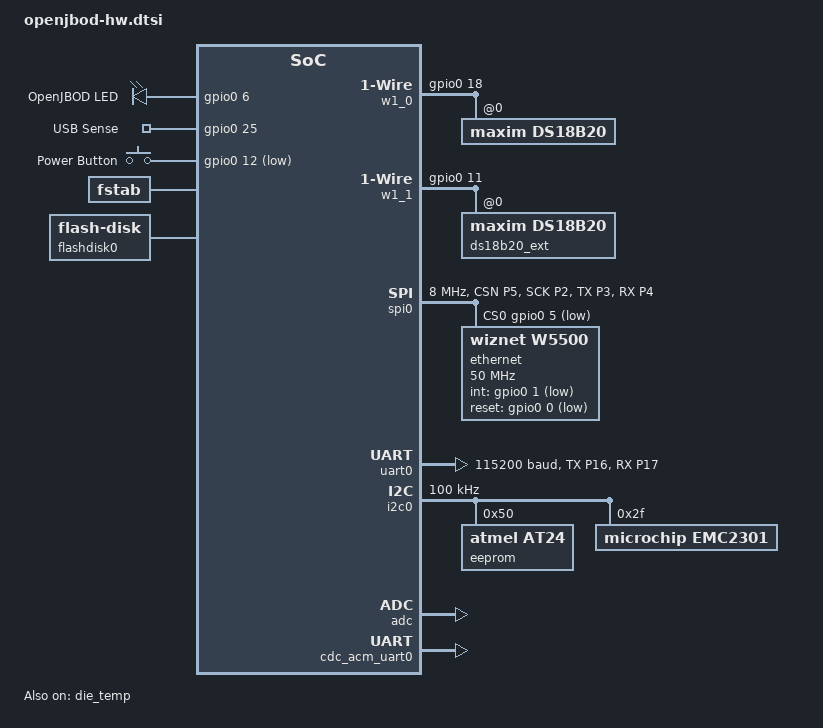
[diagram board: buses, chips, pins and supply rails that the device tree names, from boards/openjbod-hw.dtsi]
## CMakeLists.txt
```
# SPDX-License-Identifier: Apache-2.0

cmake_minimum_required(VERSION 3.20.0)

find_package(Zephyr REQUIRED HINTS $ENV{ZEPHYR_BASE})
find_package(Python REQUIRED COMPONENTS Interpreter)

project(http_server)
set(CMAKE_EXPORT_COMPILE_COMMANDS ON CACHE BOOL "Generate compile_commands.json" FORCE)

# Get git commit SHA for build info
find_program(GIT_EXECUTABLE git)

if(GIT_EXECUTABLE)
  execute_process(
    COMMAND ${GIT_EXECUTABLE} rev-parse --short HEAD
    WORKING_DIRECTORY ${CMAKE_SOURCE_DIR}
    OUTPUT_VARIABLE GIT_COMMIT_SHA
    OUTPUT_STRIP_TRAILING_WHITESPACE
    ERROR_QUIET
  )
endif()

# Fallback if git is not available or not in a git repo
if(NOT GIT_COMMIT_SHA)
  set(GIT_COMMIT_SHA "unknown" CACHE STRING "Git commit SHA for build info" FORCE)
endif()

# Add git commit SHA as a compile definition
target_compile_definitions(app PRIVATE OPENJBOD_GIT_COMMIT="${GIT_COMMIT_SHA}")

message(STATUS "OpenJBOD Git commit SHA: ${GIT_COMMIT_SHA}")


option(INCLUDE_HTML_CONTENT "Include the HTML content" ON)

target_sources(app PRIVATE
  src/main.c
  src/eeprom_mac.c
  src/sr_latch.c
  src/status_led.c
  src/temperature.c
  src/emc2301.c
  src/fan_control.c
  src/fan_calibrate.c
  src/settings.c
  src/device_info.c
  src/http/auth.c
  src/http/session.c
  src/http/api_token.c
  src/http/headers.c
  src/http/server_control.c
  src/http/static_assets.c
  src/http/router.c
  src/http/routes/routes_core.c
  src/http/routes/routes_power.c
  src/http/routes/routes_environment.c
  src/http/routes/routes_settings.c
  src/http/routes/routes_users.c
  src/http/routes/routes_certificates.c
  src/http/routes/routes_reset.c
  src/http/routes/routes_auth.c
  src/http/routes/routes_tokens.c
)

# Network firmware upgrade (DFU) - only when built under MCUboot (sysbuild).
target_sources_ifdef(CONFIG_BOOTLOADER_MCUBOOT app PRIVATE src/firmware_update.c)

# Development/debug UART shell commands (only useful when the shell is enabled).
target_sources_ifdef(CONFIG_SHELL app PRIVATE src/shell_cmds.c)

# USB CDC-ACM console: our bring-up code plus the canonical USBD init helper from
# the Zephyr tree (its header explicitly invites reuse as a template).
target_sources_ifdef(CONFIG_OPENJBOD_USB_CONSOLE app PRIVATE
  src/usb_console.c
  ${ZEPHYR_BASE}/samples/subsys/usb/common/sample_usbd_init.c
)
if(CONFIG_OPENJBOD_USB_CONSOLE)
  target_include_directories(app PRIVATE ${ZEPHYR_BASE}/samples/subsys/usb/common)
endif()

target_include_directories(app PRIVATE ${CMAKE_CURRENT_SOURCE_DIR}/src)

set(gen_dir ${ZEPHYR_BINARY_DIR}/include/generated/)

target_link_libraries(app PRIVATE zephyr_interface zephyr)

zephyr_linker_sources(SECTIONS sections-rom.ld)
zephyr_linker_section_ifdef(CONFIG_NET_SAMPLE_HTTPS_SERVICE NAME
				http_resource_desc_test_https_service
				KVMA RAM_REGION GROUP RODATA_REGION)
zephyr_linker_section_ifdef(CONFIG_NET_SAMPLE_HTTP_SERVICE NAME
				http_resource_desc_test_http_service
				KVMA RAM_REGION GROUP RODATA_REGION)

set(WEBSRC ${CMAKE_CURRENT_SOURCE_DIR}/src/static_web_resources)
set(WEB_INLINE_DIR ${CMAKE_BINARY_DIR}/web_inlined)

# Every page now inlines its CSS/JS at build time (below), so the standalone asset
# routes were removed - no separate <name>.js.gz.inc / style.css.gz.inc is embedded.
# The source files are still read directly by the inliner.

# HTML pages: inline /style.css, the page's own JS, and common.js so each page is a
# SINGLE HTTPS request (one TLS handshake) instead of 3-4. Over HTTPS the handshake
# is the whole cost and handshakes serialise on the one crypto core, so collapsing a
# page to one request is the biggest load-time win. The inlined page is then gzipped
# into the same <page>.html.gz.inc that static_assets.c already embeds.
file(GLOB WEB_ASSET_DEPS ${WEBSRC}/*.js ${WEBSRC}/*.css)
foreach(page
  index
  about
  network
  power
  http
  environment
  console
  users
  tokens
  firmware
  reset
  login
    )
  add_custom_command(
    OUTPUT ${WEB_INLINE_DIR}/${page}.html
    COMMAND ${CMAKE_COMMAND} -E make_directory ${WEB_INLINE_DIR}
    COMMAND ${Python_EXECUTABLE} ${CMAKE_CURRENT_SOURCE_DIR}/scripts/inline_web_assets.py
            ${WEBSRC}/${page}.html ${WEBSRC} ${WEB_INLINE_DIR}/${page}.html
    DEPENDS ${WEBSRC}/${page}.html ${WEB_ASSET_DEPS}
            ${CMAKE_CURRENT_SOURCE_DIR}/scripts/inline_web_assets.py
    COMMENT "Inlining web assets into ${page}.html"
    VERBATIM
  )
  generate_inc_file_for_target(
    app
    ${WEB_INLINE_DIR}/${page}.html
    ${gen_dir}/${page}.html.gz.inc
    --gzip
  )
endforeach()

set(cert_source_dir ${CMAKE_CURRENT_SOURCE_DIR}/src/certs)
set(cert_build_dir ${CMAKE_BINARY_DIR}/certs)
set(cert_outputs
  ${cert_build_dir}/server_cert.der
  ${cert_build_dir}/server_privkey.der
)

add_custom_target(embedded_certs_force ALL
  COMMAND ${CMAKE_COMMAND} -E make_directory ${cert_build_dir}
  COMMAND ${CMAKE_COMMAND} -E rm -f ${cert_build_dir}/server_cert.der
  COMMAND ${CMAKE_COMMAND} -E rm -f ${cert_build_dir}/server_privkey.der
  COMMAND ${CMAKE_COMMAND} -E rm -f ${cert_build_dir}/server_cert.pem
  COMMAND ${CMAKE_COMMAND} -E rm -f ${cert_build_dir}/server_privkey.pem
  COMMAND ${CMAKE_COMMAND} -E rm -f ${cert_build_dir}/server_cert.ext
  COMMENT "Forcing TLS certificate regeneration"
  VERBATIM
)

add_custom_command(
  OUTPUT ${cert_outputs}
  COMMAND ${CMAKE_COMMAND} -E make_directory ${cert_build_dir}
  COMMAND ${cert_source_dir}/gen_cert.sh
  WORKING_DIRECTORY ${cert_build_dir}
  DEPENDS ${cert_source_dir}/gen_cert.sh embedded_certs_force
  COMMENT "Generating embedded TLS certificates"
  VERBATIM
)

add_custom_target(embedded_certs ALL DEPENDS ${cert_outputs})
add_dependencies(embedded_certs embedded_certs_force)

foreach(inc_file
  server_cert.der
  server_privkey.der
    )
  generate_inc_file_for_target(
    app
    ${cert_build_dir}/${inc_file}
    ${gen_dir}/${inc_file}.inc
    )
endforeach()

add_dependencies(app embedded_certs)
```

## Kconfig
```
# Config options for Tank HTTP server application

# Copyright (c) 2023, Emna Rekik
# SPDX-License-Identifier: Apache-2.0

mainmenu "Tank HTTP server application"

config NET_HTTP_SERVICE
	bool "Enable http service"
	default y

config NET_HTTP_SERVER_SERVICE_PORT
	int "Port number for http service"
	default 80
	depends on NET_HTTP_SERVICE

config NET_HTTPS_SERVICE
	bool "Enable https service"
	depends on NET_SOCKETS_SOCKOPT_TLS || TLS_CREDENTIALS
	imply MBEDTLS_PSA_CRYPTO_C if !BUILD_WITH_TFM

if NET_HTTPS_SERVICE

config NET_HTTPS_SERVER_SERVICE_PORT
	int "Port number for https service"
	default 443
	depends on NET_HTTPS_SERVICE

config NET_HTTPS_USE_ALPN
	bool "Allow HTTP2 connectivity with web browsers by using ALPN"
	select MBEDTLS_SSL_ALPN
	select HTTP_SERVER_TLS_USE_ALPN
	help
	  Web browsers only use HTTP/2 over HTTPS, and use ALPN to determine if a
	  server supports HTTP/2. If this option is enabled, web browsers can use
	  HTTP/2 to communicate with the server. However web browsers are stricter
	  with security when using HTTP/2, at a minimum you will need to add the CA
	  certificate used to sign the server certificate into your web browser's
	  trusted authorities. Otherwise the connection can fail with a security
	  error, without giving an option to ignore this and proceed anyway.

endif # NET_HTTPS_SERVICE

config NET_PSK_HEADER_FILE
	string "Header file containing PSK"
	default "dummy_psk.h"
	depends on MBEDTLS_KEY_EXCHANGE_PSK_ENABLED
	help
	  Name of a header file containing a
	  pre-shared key.

config NET_WEBSOCKET_SERVICE
	bool "Enable websocket service"
	default y if HTTP_SERVER_WEBSOCKET

config NET_NUM_WEBSOCKET_HANDLERS
	int "How many websocket connections to serve at the same time"
	depends on NET_WEBSOCKET_SERVICE
	default 1
	help
	  Each websocket connection is served by a thread which needs
	  memory. Only increase the value here if really needed.

config NET_WEBSOCKET_STATS_INTERVAL
	int "Interval in milliseconds to send network stats over websocket"
	depends on NET_WEBSOCKET_SERVICE
	default 200
	help
	  This interval controls how often the net stats data shown on the web page
	  will be updated.

config OPENJBOD_USB_CONSOLE
	bool "USB CDC-ACM console (secondary shell over USB)"
	default y
	depends on USB_DEVICE_STACK_NEXT && SHELL
	help
	  Bring up a USB CDC-ACM serial port and run a second Zephyr shell
	  instance on it, in addition to the primary hardware UART shell. The
	  hardware UART remains the chosen console; this adds USB without
	  replacing it. Both backends can be disabled at runtime via the
	  console settings group.

if USB_DEVICE_STACK_NEXT
# Source common USB sample options used to initialize new experimental USB
# device stack. The scope of these options is limited to USB samples in project
# tree, you cannot use them in your own application.
	source "samples/subsys/usb/common/Kconfig.sample_usbd"
endif

source "Kconfig.zephyr"
```

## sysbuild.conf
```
# Build MCUboot as the bootloader (sysbuild) with A/B swap-using-move, matching
# the geometry proven in Phase 0 (dfutest). The signing key defaults to MCUboot's
# bundled dev key (bootloader/mcuboot/root-rsa-2048.pem); set
# SB_CONFIG_BOOT_SIGNATURE_KEY_FILE to a project key before production.
SB_CONFIG_BOOTLOADER_MCUBOOT=y
SB_CONFIG_MCUBOOT_MODE_SWAP_USING_MOVE=y
```

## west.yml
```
manifest:
  remotes:
    - name: zephyrproject-rtos
      url-base: https://github.com/zephyrproject-rtos

  projects:
    - name: zephyr
      remote: zephyrproject-rtos
      revision: v4.3.0
      import:
        name-allowlist:
          - hal_rpi_pico
          - mbedtls
          - cmsis_6
          - fatfs
          - mcuboot
```

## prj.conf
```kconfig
# Hardware Drivers
CONFIG_GPIO=y
CONFIG_LED=y
CONFIG_I2C=y
CONFIG_EEPROM=y
CONFIG_SENSOR=y
CONFIG_W1=y
CONFIG_ADC=y
CONFIG_HWINFO=y

# Storage and Filesystem
CONFIG_FLASH=y
CONFIG_FLASH_MAP=y
CONFIG_FLASH_PAGE_LAYOUT=y
# Use the OpenJBOD out-of-tree RP2040 flash driver (sub-page write fix); the
# in-tree driver silently drops sub-page writes on the W25Q128. See
# drivers/flash/flash_rpi_pico_fixed.c.
CONFIG_FLASH_RPI_PICO=n
CONFIG_FLASH_RPI_PICO_FIXED=y
CONFIG_MPU_ALLOW_FLASH_WRITE=y
CONFIG_DISK_ACCESS=y
CONFIG_DISK_DRIVERS=y
CONFIG_DISK_DRIVER_FLASH=y
CONFIG_FILE_SYSTEM=y
CONFIG_FILE_SYSTEM_MKFS=y
CONFIG_FAT_FILESYSTEM_ELM=y
CONFIG_FS_FATFS_FSTAB_AUTOMOUNT=y
CONFIG_FS_FATFS_LFN=y

CONFIG_FS_FATFS_MAX_LFN=64

# Settings Subsystem
CONFIG_SETTINGS=y
CONFIG_SETTINGS_RUNTIME=y
CONFIG_SETTINGS_FILE=y

CONFIG_SETTINGS_FILE_PATH="/settings/settings.dat"

# Platform Services
CONFIG_EVENTFD=y
CONFIG_REBOOT=y

# MCUboot firmware upgrade (DFU): stream an image into slot1, mark it pending,
# and confirm it on a healthy boot. Built via sysbuild (sysbuild.conf) for the
# rpi_pico/rp2040/mcuboot board. See src/firmware_update.c + POST /api/firmware.
CONFIG_BOOTLOADER_MCUBOOT=y
CONFIG_IMG_MANAGER=y
CONFIG_MCUBOOT_IMG_MANAGER=y
CONFIG_STREAM_FLASH=y
CONFIG_IMG_ERASE_PROGRESSIVELY=y

# USB CDC-ACM console (secondary shell over USB, alongside the hardware UART).
# Uses the device-next USB stack, matching the rpi_pico `raspberrypi,pico-usbd`
# controller. Compiled in via CONFIG_OPENJBOD_USB_CONSOLE (see Kconfig).
CONFIG_USB_DEVICE_STACK_NEXT=y
CONFIG_USBD_CDC_ACM_CLASS=y
CONFIG_UART_LINE_CTRL=y
# Keep the USB stack quiet: usbd_cdc_acm/usbd_ch9 log per-transfer at INF, which
# with the USB shell acting as a log backend creates a runaway log->TX->log storm.
CONFIG_USBD_LOG_LEVEL_WRN=y
CONFIG_USBD_CDC_ACM_LOG_LEVEL_WRN=y
# USB device identity (consumed by samples/.../Kconfig.sample_usbd, already sourced).
CONFIG_SAMPLE_USBD_MANUFACTURER="OpenJBOD"
CONFIG_SAMPLE_USBD_PRODUCT="OpenJBOD Tank Console"
CONFIG_SAMPLE_USBD_PID=0x0004

# Core Kernel Configuration
CONFIG_SHELL=y
CONFIG_LOG=y
CONFIG_INIT_STACKS=y
CONFIG_THREAD_STACK_INFO=y
CONFIG_STACK_SENTINEL=y
CONFIG_POSIX_API=y
CONFIG_FDTABLE=y

CONFIG_ZVFS_OPEN_MAX=32
CONFIG_ZVFS_POLL_MAX=32
CONFIG_MAIN_STACK_SIZE=4096
CONFIG_SYSTEM_WORKQUEUE_STACK_SIZE=2048
CONFIG_LOG_BUFFER_SIZE=4096

# Networking Stack
CONFIG_NETWORKING=y
CONFIG_NET_IPV4=y
CONFIG_NET_IPV6=y
CONFIG_NET_TCP=y
CONFIG_NET_SOCKETS=y
CONFIG_NET_CONNECTION_MANAGER=y
CONFIG_NET_SHELL=y
CONFIG_NET_STATISTICS=y
CONFIG_NET_STATISTICS_USER_API=y
CONFIG_NET_LOG=y
CONFIG_NET_DHCPV4=y
CONFIG_NET_HOSTNAME_ENABLE=y
CONFIG_NET_CONTEXT_NET_PKT_POOL=y
CONFIG_NET_SOCKETS_LOG_LEVEL_WRN=y
CONFIG_NET_HTTP_LOG_LEVEL_INF=y
CONFIG_NET_IPV6_LOG_LEVEL_WRN=y
CONFIG_NET_IPV6_ND_LOG_LEVEL_WRN=y
CONFIG_NET_TCP_LOG_LEVEL_WRN=y
CONFIG_NET_IPV4_LOG_LEVEL_INF=y
CONFIG_NET_CORE_LOG_LEVEL_WRN=y
CONFIG_NET_PKT_LOG_LEVEL_WRN=y
CONFIG_NET_IF_LOG_LEVEL_INF=y
CONFIG_NET_DHCPV6=y

CONFIG_NET_PKT_RX_COUNT=16
CONFIG_NET_PKT_TX_COUNT=16
CONFIG_NET_BUF_RX_COUNT=64
CONFIG_NET_BUF_TX_COUNT=96
CONFIG_NET_BUF_POOL_USAGE=y
CONFIG_NET_RX_STACK_SIZE=2048
CONFIG_NET_TX_STACK_SIZE=2048
CONFIG_NET_IF_UNICAST_IPV6_ADDR_COUNT=2
CONFIG_NET_IF_MCAST_IPV6_ADDR_COUNT=2
# CONFIG_NET_MAX_CONTEXTS sizes the per-context slab AND the TCP conn slab
# (sizeof(struct tcp) x N ~= 21KB at 32). 32->16 is the largest single RAM saving;
# the device needs ~14 (http/https listeners + <=8 clients + DHCP/DNS/mDNS) and
# excess connections are refused gracefully. NET_TCP_TIME_WAIT_DELAY=0 frees them fast.
CONFIG_NET_MAX_CONTEXTS=16
CONFIG_NET_MAX_CONN=16
CONFIG_NET_TCP_TIME_WAIT_DELAY=0
CONFIG_NET_TCP_MAX_RECV_WINDOW_SIZE=65535
CONFIG_NET_TCP_RECV_QUEUE_TIMEOUT=100

# Web Server and APIs
CONFIG_HTTP_PARSER_URL=y
CONFIG_HTTP_PARSER=y
CONFIG_HTTP_SERVER=y
CONFIG_NET_HTTP_SERVICE=y
CONFIG_NET_HTTPS_SERVICE=y
CONFIG_HTTP_SERVER_CAPTURE_HEADERS=y
# Capture Authorization + Content-Type + Cookie, with room for a session-cookie
# value (defaults of 32 B / 128 B are too small for the token).
CONFIG_HTTP_SERVER_CAPTURE_HEADER_COUNT=4
CONFIG_HTTP_SERVER_MAX_HEADER_LEN=256
CONFIG_HTTP_SERVER_CAPTURE_HEADER_BUFFER_SIZE=512
CONFIG_HTTP_SERVER_HTTP2_MAX_HEADER_FRAME_LEN=256
CONFIG_JSON_LIBRARY=y
# Needed to parse the fan_curve temperatures (floats) in the settings POST.
CONFIG_JSON_LIBRARY_FP_SUPPORT=y
CONFIG_BASE64=y

CONFIG_HTTP_SERVER_MAX_CLIENTS=4
CONFIG_HTTP_SERVER_CLIENT_BUFFER_SIZE=2048
CONFIG_HTTP_SERVER_STACK_SIZE=10240
CONFIG_NET_HTTP_SERVER_SERVICE_PORT=80
CONFIG_NET_HTTPS_SERVER_SERVICE_PORT=443

# Cryptography and TLS
# Real entropy from the RP2040 ROSC (out-of-tree driver, drivers/entropy) feeding a
# CTR-DRBG CSPRNG, so sys_csrand_get() (password salts, web-session ids) is
# cryptographically secure. Replaces the non-crypto CONFIG_TEST_RANDOM_GENERATOR.
CONFIG_ENTROPY_GENERATOR=y
CONFIG_CTR_DRBG_CSPRNG_GENERATOR=y
CONFIG_MBEDTLS=y
CONFIG_MBEDTLS_BUILTIN=y
CONFIG_MBEDTLS_ENABLE_HEAP=y
CONFIG_MBEDTLS_CIPHER_AES_ENABLED=y
CONFIG_MBEDTLS_CIPHER_CHACHA20_ENABLED=y
CONFIG_MBEDTLS_CIPHER_GCM_ENABLED=y
CONFIG_MBEDTLS_CIPHER_MODE_CBC_ENABLED=y
CONFIG_MBEDTLS_CHACHAPOLY_AEAD_ENABLED=y
CONFIG_MBEDTLS_KEY_EXCHANGE_ECDHE_ECDSA_ENABLED=y
CONFIG_MBEDTLS_PK_WRITE_C=y
CONFIG_MBEDTLS_POLY1305=y
CONFIG_PSA_WANT_ALG_ECDH=y
CONFIG_PSA_WANT_ALG_ECDSA=y
CONFIG_PSA_WANT_ALG_CCM=y
CONFIG_PSA_WANT_ALG_GCM=y
CONFIG_PSA_WANT_ALG_TLS12_PRF=y
CONFIG_PSA_WANT_ALG_SHA_1=y
CONFIG_PSA_WANT_ALG_SHA_256=y
CONFIG_PSA_WANT_ECC_SECP_R1_256=y
CONFIG_PSA_WANT_KEY_TYPE_ECC_PUBLIC_KEY=y
CONFIG_PSA_WANT_KEY_TYPE_ECC_KEY_PAIR_IMPORT=y
CONFIG_PSA_WANT_KEY_TYPE_ECC_KEY_PAIR_EXPORT=y
CONFIG_PSA_WANT_KEY_TYPE_ECC_KEY_PAIR_GENERATE=y
# The entire TLS handshake cost is P-256 (ECDHE key exchange + ECDSA cert signature)
# on a Cortex-M0+ with no crypto hardware. p256-m is a tiny secp256r1 implementation
# hand-optimised for M0/M0+, routed transparently through PSA - it slashes the
# generic mbedTLS ECP handshake time.
CONFIG_MBEDTLS_PSA_P256M_DRIVER_ENABLED=y
CONFIG_NET_SOCKETS_SOCKOPT_TLS=y
CONFIG_TLS_CREDENTIALS=y
CONFIG_TLS_CREDENTIALS_LOG_LEVEL_WRN=y

CONFIG_NET_SOCKETS_TLS_MAX_CONTEXTS=4
CONFIG_TLS_MAX_CREDENTIALS_NUMBER=3
CONFIG_MBEDTLS_SSL_MAX_CONTENT_LEN=2048
# Measured peak ~18.3KB under 4 concurrent TLS handshakes (= HTTP_SERVER_MAX_CLIENTS);
# 30KB leaves ~1.6x headroom for the buffer allocator's fragmentation. Was 45000.
CONFIG_MBEDTLS_HEAP_SIZE=30000
```

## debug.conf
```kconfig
# Development/debug overlay. Apply with:
#   west build -s tank -b rpi_pico -- -DEXTRA_CONF_FILE=debug.conf
# or `scripts/build.sh --debug` / `make build-debug`.
# Layered on top of prj.conf; never used by release builds.

# Catch programming errors loudly instead of silently misbehaving.
CONFIG_ASSERT=y
CONFIG_ASSERT_VERBOSE=y

# Verbose, dev-friendly logging.
# NB: do NOT enable CONFIG_LOG_MODE_IMMEDIATE here. Immediate mode formats log
# messages on the calling thread's stack; the w5500 driver thread is too small
# for that and hard-faults at "Link up". Deferred logging (the default) is safe.
CONFIG_BOOT_BANNER=y
CONFIG_PRINTK=y

# Raise the noisy-but-useful network subsystems to DEBUG.
CONFIG_NET_HTTP_LOG_LEVEL_DBG=y
CONFIG_NET_IPV4_LOG_LEVEL_DBG=y
CONFIG_NET_DHCPV4_LOG_LEVEL_DBG=y
CONFIG_NET_IF_LOG_LEVEL_DBG=y

# Thread introspection: `kernel threads`, `kernel stacks`, `thread_analyzer`.
CONFIG_THREAD_NAME=y
CONFIG_THREAD_MONITOR=y
CONFIG_THREAD_RUNTIME_STATS=y
CONFIG_THREAD_ANALYZER=y
CONFIG_THREAD_ANALYZER_USE_PRINTK=y
CONFIG_THREAD_ANALYZER_AUTO=n
```

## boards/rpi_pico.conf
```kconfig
# OpenJBOD board configuration for HTTP server sample
# Required for W5500 Ethernet controller support

# Enable networking and Ethernet
CONFIG_NETWORKING=y
CONFIG_NET_L2_ETHERNET=y

# Enable SPI for W5500 communication
CONFIG_SPI=y

# Enable W5500 Ethernet driver
CONFIG_ETH_W5500=y

# GPIO support for W5500 reset and interrupt pins
CONFIG_GPIO=y

# I2C support for EEPROM (MAC address)
CONFIG_I2C=y

# Enable HTTP service for the sample
CONFIG_NET_HTTP_SERVICE=y
CONFIG_NET_HTTP_SERVER_SERVICE_PORT=80
```

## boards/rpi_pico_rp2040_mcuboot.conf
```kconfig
# OpenJBOD board configuration for the MCUboot (firmware-upgrade) build.
# Mirrors boards/rpi_pico.conf - the rpi_pico/rp2040/mcuboot board needs the same
# W5500 Ethernet / SPI / I2C support as the plain rpi_pico board.

# Enable networking and Ethernet
CONFIG_NETWORKING=y
CONFIG_NET_L2_ETHERNET=y

# Enable SPI for W5500 communication
CONFIG_SPI=y

# Enable W5500 Ethernet driver
CONFIG_ETH_W5500=y

# GPIO support for W5500 reset and interrupt pins
CONFIG_GPIO=y

# I2C support for EEPROM (MAC address)
CONFIG_I2C=y

# Enable HTTP service for the sample
CONFIG_NET_HTTP_SERVICE=y
CONFIG_NET_HTTP_SERVER_SERVICE_PORT=80
```

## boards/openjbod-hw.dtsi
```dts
/*
 * OpenJBOD Tank hardware description (everything except the flash partition
 * table, which differs between the plain and MCUboot builds). Shared by
 * boards/rpi_pico.overlay and boards/rpi_pico_rp2040_mcuboot.overlay.
 *
 * Board: OpenJBOD Rev5 Alpha2 pin configuration.
 *   W5500: GPIO0 (RSTn), GPIO1 (INTn), GPIO2 (SCK), GPIO3 (MOSI), GPIO4 (MISO), GPIO5 (CSn)
 *   I2C0:  GPIO8 (SDA), GPIO9 (SCL)
 *   UART:  GPIO16 (TX), GPIO17 (RX)
 */

#include <zephyr/dt-bindings/pinctrl/rpi-pico-rp2040-pinctrl.h>

&pinctrl {
	/* Override UART0 pinmux for OpenJBOD UART pins */
	uart0_openjbod: uart0_openjbod {
		group1 {
			pinmux = <UART0_TX_P16>;
		};
		group2 {
			pinmux = <UART0_RX_P17>;
			input-enable;
		};
	};

	/* Override SPI0 pinmux for OpenJBOD W5500 pins */
	spi0_openjbod: spi0_openjbod {
		group1 {
			pinmux = <SPI0_CSN_P5>, <SPI0_SCK_P2>, <SPI0_TX_P3>;
		};
		group2 {
			pinmux = <SPI0_RX_P4>;
			input-enable;
		};
	};

	/* Override I2C0 pinmux for OpenJBOD EEPROM/EMC2301 */
	i2c0_openjbod: i2c0_openjbod {
		group1 {
			pinmux = <I2C0_SDA_P8>, <I2C0_SCL_P9>;
			input-enable;
			input-schmitt-enable;
			bias-pull-up;
		};
	};
};

&spi0 {
	clock-frequency = <DT_FREQ_M(8)>;
	status = "okay";
	pinctrl-0 = <&spi0_openjbod>;
	pinctrl-names = "default";
	cs-gpios = <&gpio0 5 GPIO_ACTIVE_LOW>;

	ethernet: w5500@0 {
		compatible = "wiznet,w5500";
		reg = <0x0>;
		spi-max-frequency = <50000000>;
		int-gpios = <&gpio0 1 GPIO_ACTIVE_LOW>;
		reset-gpios = <&gpio0 0 GPIO_ACTIVE_LOW>;
		status = "okay";
	};
};

&uart0 {
	current-speed = <115200>;
	status = "okay";
	pinctrl-0 = <&uart0_openjbod>;
	pinctrl-names = "default";
};

&i2c0 {
	clock-frequency = <I2C_BITRATE_STANDARD>;
	status = "okay";
	pinctrl-0 = <&i2c0_openjbod>;
	pinctrl-names = "default";

	/* Microchip 24AA025E EEPROM containing MAC address */
	eeprom: eeprom@50 {
		compatible = "atmel,at24";
		reg = <0x50>;
		size = <256>;
		pagesize = <16>;
		address-width = <8>;
		timeout = <5>;
		status = "okay";
	};

	/* EMC2301 Fan Controller */
	emc2301: emc2301@2f {
		compatible = "microchip,emc2301";
		reg = <0x2f>;
		status = "okay";
	};
};

/ {
	leds {
		compatible = "gpio-leds";
		led0: led_0 {
			gpios = <&gpio0 6 GPIO_ACTIVE_HIGH>;
			label = "OpenJBOD LED";
		};
	};

	/* 1-Wire bus for DS18B20 temperature sensor on GPIO18 */
	w1_0: w1-gpio {
		compatible = "zephyr,w1-gpio";
		#address-cells = <1>;
		#size-cells = <0>;
		status = "okay";
		gpios = <&gpio0 18 (GPIO_PULL_UP | GPIO_ACTIVE_HIGH | GPIO_OPEN_DRAIN)>;

		ds18b20: ds18b20@0 {
			compatible = "maxim,ds18b20";
			reg = <0x0>;
			family-code = <0x28>;
			resolution = <9>;  /* 9-bit resolution for faster conversion */
			status = "okay";
		};
	};

	/* Second 1-Wire bus for the optional DS18B20 on the GPIO11 pin header.
	 * The probe may or may not be physically present; it is detected at boot.
	 */
	w1_1: w1-gpio-ext {
		compatible = "zephyr,w1-gpio";
		#address-cells = <1>;
		#size-cells = <0>;
		status = "okay";
		gpios = <&gpio0 11 (GPIO_PULL_UP | GPIO_ACTIVE_HIGH | GPIO_OPEN_DRAIN)>;

		ds18b20_ext: ds18b20@0 {
			compatible = "maxim,ds18b20";
			reg = <0x0>;
			family-code = <0x28>;
			resolution = <9>;  /* 9-bit resolution for faster conversion */
			status = "okay";
		};
	};

	/* GPIO nodes for power management */
	gpio_keys {
		compatible = "gpio-keys";
		usb_sense: usb_sense {
			gpios = <&gpio0 25 (GPIO_ACTIVE_HIGH)>;
			label = "USB Sense";
		};
		power_button: power_button {
			gpios = <&gpio0 12 (GPIO_ACTIVE_LOW | GPIO_PULL_UP)>;
			label = "Power Button";
		};
	};

	/* RP2040 ROSC entropy source (out-of-tree driver) for the CSPRNG. */
	rosc_rng: rosc-entropy {
		compatible = "raspberrypi,pico-rosc-entropy";
		status = "okay";
	};

	aliases {
		led0 = &led0;
		ds18b20 = &ds18b20;
		ds18b20-ext = &ds18b20_ext;
		emc2301 = &emc2301;
		usb-sense = &usb_sense;
		power-button = &power_button;
	};

	chosen {
		zephyr,settings-partition = &storage_partition;
		zephyr,entropy = &rosc_rng;
	};

	/* FATFS filesystem configuration for settings storage */
	fstab {
		compatible = "zephyr,fstab";
		settings_fs: settings_fs {
			compatible = "zephyr,fstab,fatfs";
			mount-point = "/settings";
			automount;
			disk-access;
		};
	};

	/* Flash disk driver using the settings partition */
	flashdisk0 {
		compatible = "zephyr,flash-disk";
		partition = <&storage_partition>;
		disk-name = "SETTINGS";
		cache-size = <4096>;
	};
};

/* Enable RP2040 onboard temperature sensor */
&die_temp {
	status = "okay";
};

/* Enable ADC for RP2040 temperature sensor */
&adc {
	status = "okay";
	#address-cells = <1>;
	#size-cells = <0>;
};

/* USB CDC-ACM function for the secondary shell/console over USB.
 * The board's USB device controller (zephyr_udc0) is already enabled in
 * rpi_pico-common.dtsi. The hardware UART0 remains the primary chosen
 * console/shell; this CDC-ACM device is an additional, independently
 * initialized backend (see src/usb_console.c).
 */
&zephyr_udc0 {
	cdc_acm_uart0: cdc_acm_uart0 {
		compatible = "zephyr,cdc-acm-uart";
	};
};
```

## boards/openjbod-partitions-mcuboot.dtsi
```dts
/*
 * OpenJBOD 16 MB MCUboot partition layout, replacing the stock 2 MB sysbuild
 * layout pulled in by the rpi_pico/rp2040/mcuboot board. Shared by the app
 * overlay and sysbuild/mcuboot.overlay so both images agree on slot geometry.
 *
 * Keeps the board's second_stage_bootloader (@0) and boot_partition / mcuboot
 * (@0x100). storage stays at 0x100000 (unchanged from the legacy layout) so
 * existing settings survive the migration and every future A/B swap (it sits
 * between, and outside, the two slots):
 *
 *   0x000000  second_stage_bootloader   256 B   (from board)
 *   0x000100  boot_partition (mcuboot)  ~64 KB  (from board)
 *   0x010000  slot0_partition (image-0) 960 KB
 *   0x100000  storage_partition         512 KB  (settings - unchanged)
 *   0x180000  slot1_partition (image-1) 960 KB
 *             (~13.5 MB free above 0x270000)
 *
 * slot0 == slot1 size (required for swap; swap-using-move reserves one 4 KB
 * sector, leaving ~956 KB usable - the app is ~520 KB).
 */

/delete-node/ &slot1_partition;
/delete-node/ &storage_partition;

&slot0_partition {
	/* Resize the board's 832 KB slot0 to end exactly at 0x100000. */
	reg = <0x00010000 0x000f0000>;
};

&flash0 {
	reg = <0x10000000 DT_SIZE_M(16)>;

	partitions {
		storage_partition: partition@100000 {
			label = "storage";
			reg = <0x00100000 DT_SIZE_K(512)>;
		};

		slot1_partition: partition@180000 {
			label = "image-1";
			reg = <0x00180000 0x000f0000>;
		};
	};
};
```

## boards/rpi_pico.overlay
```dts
/*
 * OpenJBOD board overlay - plain (non-MCUboot) build for board `rpi_pico`.
 * Hardware lives in openjbod-hw.dtsi; this file adds the legacy flash layout
 * (bootloader + settings only, no A/B slots). For firmware-upgrade builds use
 * boards/rpi_pico_rp2040_mcuboot.overlay instead.
 */

#include "openjbod-hw.dtsi"

&flash0 {
	reg = <0x10000000 DT_SIZE_M(16)>;

	partitions {
		compatible = "fixed-partitions";
		#address-cells = <1>;
		#size-cells = <1>;

		second_stage_bootloader: partition@0 {
			label = "second_stage_bootloader";
			reg = <0x00000000 0x100>;
			read-only;
		};

		/* Settings partition for FAT */
		storage_partition: partition@100000 {
			label = "storage";
			reg = <0x100000 DT_SIZE_K(512)>;
		};
	};
};
```

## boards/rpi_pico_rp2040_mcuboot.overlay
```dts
/*
 * OpenJBOD board overlay for the MCUboot (firmware-upgrade) build, board
 * `rpi_pico/rp2040/mcuboot`. Full Tank hardware + the OpenJBOD 16 MB A/B
 * partition layout. The board itself points zephyr,code-partition at
 * slot0_partition (correct for the application).
 */

#include "openjbod-hw.dtsi"
#include "openjbod-partitions-mcuboot.dtsi"
```

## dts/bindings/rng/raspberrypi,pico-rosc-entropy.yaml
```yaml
# Copyright (c) 2025 The OpenJBOD Project
# SPDX-License-Identifier: Apache-2.0

description: |
  RP2040 ring-oscillator (ROSC) entropy source. Samples the ROSC RANDOMBIT
  register to provide hardware entropy for Zephyr's CSPRNG. No reg property is
  needed; the driver accesses the fixed ROSC block via the Pico SDK.

compatible: "raspberrypi,pico-rosc-entropy"

include: base.yaml
```

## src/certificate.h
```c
/*
 * Copyright (c) 2024 OpenJBOD Project
 *
 * SPDX-License-Identifier: Apache-2.0
 */

#ifndef __CERTIFICATE_H__
#define __CERTIFICATE_H__

enum tls_tag {
	/** Used for both the public and private server keys */
	OPENJBOD_SERVER_CERTIFICATE_TAG,
};

static const unsigned char server_certificate[] = {
#include "server_cert.der.inc"
};

/* This is the private key in PKCS#1 RSA format. */
static const unsigned char private_key[] = {
#include "server_privkey.der.inc"
};

#endif /* __CERTIFICATE_H__ */
```

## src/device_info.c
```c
/*
 * Copyright (c) 2024 OpenJBOD Project
 *
 * SPDX-License-Identifier: Apache-2.0
 */

#include <zephyr/kernel.h>
#include <zephyr/drivers/hwinfo.h>
#include <zephyr/drivers/i2c.h>
#include <zephyr/logging/log.h>
#include <stdio.h>
#include <string.h>
#include "device_info.h"
#include "eeprom_mac.h"

LOG_MODULE_REGISTER(device_info, LOG_LEVEL_INF);

/* Git commit SHA will be injected at build time */
#ifndef OPENJBOD_GIT_COMMIT
#define OPENJBOD_GIT_COMMIT "unknown"
#endif

#define EEPROM_I2C_ADDR 0x50
#define BOARD_VERSION_REGISTER 0x00

static char cached_serial[OPENJBOD_SERIAL_MAX_LEN];
static char build_info_string[OPENJBOD_BUILD_INFO_MAX_LEN];
static char cached_board_revision[OPENJBOD_BOARD_REV_MAX_LEN];
static bool info_initialized = false;

static const struct device *i2c_dev = DEVICE_DT_GET(DT_NODELABEL(i2c0));

/* Forward declaration for uncached board revision function */
static int openjbod_device_info_get_board_revision_uncached(char *board_rev_buf, size_t buf_len);

/**
 * Convert device unique ID to hex string (similar to Python's binascii.hexlify().upper())
 */
static int device_id_to_hex_string(const uint8_t *device_id, size_t id_len, char *hex_string, size_t hex_buf_len)
{
	if (hex_buf_len < (id_len * 2) + 1) {
		return -EINVAL;
	}

	for (size_t i = 0; i < id_len; i++) {
		snprintf(&hex_string[i * 2], 3, "%02X", device_id[i]);
	}
	hex_string[id_len * 2] = '\0';
	
	return 0;
}

int openjbod_device_info_init(void)
{
	uint8_t unique_id[16];  /* RP2040 has 8-byte unique ID */
	int ret;

	if (info_initialized) {
		return 0;
	}

	LOG_INF("Initializing OpenJBOD device info");

	/* Get the unique board ID for serial number derivation */
	ret = hwinfo_get_device_id(unique_id, sizeof(unique_id));
	if (ret < 0) {
		LOG_ERR("Failed to get device unique ID: %d", ret);
		return ret;
	}

	size_t id_len = ret;
	
	/* Convert device ID to uppercase hex string for serial number */
	ret = device_id_to_hex_string(unique_id, id_len, cached_serial, sizeof(cached_serial));
	if (ret < 0) {
		LOG_ERR("Failed to convert device ID to hex string: %d", ret);
		return ret;
	}

	/* Create build info string with version and git commit */
	snprintf(build_info_string, sizeof(build_info_string), 
		 "%s (%s)", OPENJBOD_VERSION_STRING, OPENJBOD_GIT_COMMIT);

	/* Cache board revision to avoid repeated I2C calls */
	ret = openjbod_device_info_get_board_revision_uncached(cached_board_revision, sizeof(cached_board_revision));
	if (ret < 0) {
		LOG_WRN("Failed to get board revision: %d", ret);
		strcpy(cached_board_revision, "Unknown");
	}

	info_initialized = true;

	LOG_INF("Device serial number: %s", cached_serial);
	LOG_INF("Firmware version: %s", OPENJBOD_VERSION_STRING);
	LOG_INF("Bootloader version: %d", OPENJBOD_BOOTLOADER_VER);
	LOG_INF("Build info: %s", build_info_string);
	LOG_INF("Board revision: %s", cached_board_revision);

	return 0;
}

int openjbod_device_info_get_serial(char *serial_buf, size_t buf_len)
{
	if (!info_initialized) {
		int ret = openjbod_device_info_init();
		if (ret < 0) {
			return ret;
		}
	}

	if (buf_len < strlen(cached_serial) + 1) {
		return -EINVAL;
	}

	strcpy(serial_buf, cached_serial);
	return 0;
}

const char *openjbod_device_info_get_version(void)
{
	return OPENJBOD_VERSION_STRING;
}

const char *openjbod_device_info_get_build_info(void)
{
	if (!info_initialized) {
		int ret = openjbod_device_info_init();
		if (ret < 0) {
			return "error";
		}
	}

	return build_info_string;
}

void openjbod_device_info_get_version_components(uint8_t *major, uint8_t *minor, uint8_t *patch)
{
	if (major) *major = OPENJBOD_VERSION_MAJOR;
	if (minor) *minor = OPENJBOD_VERSION_MINOR;
	if (patch) *patch = OPENJBOD_VERSION_PATCH;
}

static int openjbod_device_info_get_board_revision_uncached(char *board_rev_buf, size_t buf_len)
{
	uint8_t version_byte = 0xFF;
	int ret;

	if (!board_rev_buf || buf_len < OPENJBOD_BOARD_REV_MAX_LEN) {
		return -EINVAL;
	}

	/* Check if MACROM is present on I2C bus */
	if (!eeprom_24aa025e_present(i2c_dev)) {
		LOG_INF("No MACROM detected - presuming Rev 4 board");
		strncpy(board_rev_buf, "Rev 4", buf_len - 1);
		board_rev_buf[buf_len - 1] = '\0';
		return 0;
	}

	/* MACROM is present, try to read version register */
	ret = i2c_write_read(i2c_dev, EEPROM_I2C_ADDR, 
			     &(uint8_t){BOARD_VERSION_REGISTER}, 1,
			     &version_byte, 1);
	
	if (ret < 0) {
		LOG_WRN("Failed to read board version from MACROM register 0x%02X: %d", 
			BOARD_VERSION_REGISTER, ret);
		strncpy(board_rev_buf, "Unknown Board Version", buf_len - 1);
		board_rev_buf[buf_len - 1] = '\0';
		return ret;
	}

	/* Interpret version byte according to the specified logic */
	if (version_byte == 1) {
		strncpy(board_rev_buf, "Rev 5", buf_len - 1);
		LOG_INF("Detected Rev 5 board (MACROM version register = 0x%02X)", version_byte);
	} else if (version_byte == 0xFF) {
		strncpy(board_rev_buf, "Unknown Board Version", buf_len - 1);
		LOG_INF("Unknown board version (MACROM version register = 0x%02X)", version_byte);
	} else {
		/* Handle other version values - might be future revisions */
		snprintf(board_rev_buf, buf_len, "Rev %d", version_byte);
		LOG_INF("Detected board revision %d (MACROM version register = 0x%02X)", 
			version_byte, version_byte);
	}
	
	board_rev_buf[buf_len - 1] = '\0';
	return 0;
}

int openjbod_device_info_get_board_revision(char *board_rev_buf, size_t buf_len)
{
	if (!info_initialized) {
		int ret = openjbod_device_info_init();
		if (ret < 0) {
			return ret;
		}
	}

	if (buf_len < strlen(cached_board_revision) + 1) {
		return -EINVAL;
	}

	strcpy(board_rev_buf, cached_board_revision);
	return 0;
}
```

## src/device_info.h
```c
/*
 * Copyright (c) 2024 OpenJBOD Project
 *
 * SPDX-License-Identifier: Apache-2.0
 */

#ifndef DEVICE_INFO_H__
#define DEVICE_INFO_H__

#include <stdint.h>
#include <stdbool.h>

#ifdef __cplusplus
extern "C" {
#endif

/* SEMVER version - update as needed */
#define OPENJBOD_VERSION_MAJOR 1
#define OPENJBOD_VERSION_MINOR 0
#define OPENJBOD_VERSION_PATCH 0

#define OPENJBOD_VERSION_STRING "1.0.0"

/* MCUboot bootloader revision. Not semver - just a counter bumped whenever the
 * bootloader is changed (rare). It is reported by the application; since the
 * bootloader and app are built and flashed together (the "full" image), this
 * reflects the bootloader the running app was built against. Bumping it implies
 * shipping a new full image - a board must be re-flashed over BOOTSEL to pick up
 * a new bootloader (a DFU app-only update never replaces it).
 */
#define OPENJBOD_BOOTLOADER_VER 1

/* Maximum serial number string length (16 hex chars + null terminator) */
#define OPENJBOD_SERIAL_MAX_LEN 17

/* Maximum build info string length */
#define OPENJBOD_BUILD_INFO_MAX_LEN 64

/* Maximum board revision string length */
#define OPENJBOD_BOARD_REV_MAX_LEN 32

/**
 * Initialize device info module
 * @return 0 on success, negative errno on error
 */
int openjbod_device_info_init(void);

/**
 * Get device serial number (hex string derived from RP2040 unique ID)
 * @param serial_buf Buffer to store serial number string
 * @param buf_len Buffer length (should be at least OPENJBOD_SERIAL_MAX_LEN)
 * @return 0 on success, negative errno on error
 */
int openjbod_device_info_get_serial(char *serial_buf, size_t buf_len);

/**
 * Get firmware version string
 * @return Version string (e.g., "0.0.1")
 */
const char *openjbod_device_info_get_version(void);

/**
 * Get build information string
 * @return Build info string (e.g., "0.0.1+abc1234")
 */
const char *openjbod_device_info_get_build_info(void);

/**
 * Get version components
 */
void openjbod_device_info_get_version_components(uint8_t *major, uint8_t *minor, uint8_t *patch);

/**
 * Get board revision string based on MACROM detection
 * @param board_rev_buf Buffer to store board revision string
 * @param buf_len Buffer length (should be at least OPENJBOD_BOARD_REV_MAX_LEN)
 * @return 0 on success, negative errno on error
 */
int openjbod_device_info_get_board_revision(char *board_rev_buf, size_t buf_len);

#ifdef __cplusplus
}
#endif

#endif /* DEVICE_INFO_H__ */
```

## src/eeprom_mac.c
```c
/*
 * EEPROM MAC Address Driver for OpenJBOD
 * Reads MAC address from Microchip 24AA025E EEPROM
 * Falls back to LAA (Locally Administered Address) generation from unique board ID
 */

#include <zephyr/kernel.h>
#include <zephyr/device.h>
#include <zephyr/drivers/eeprom.h>
#include <zephyr/drivers/i2c.h>
#include <zephyr/drivers/hwinfo.h>
#include <zephyr/logging/log.h>
#include "eeprom_mac.h"

LOG_MODULE_REGISTER(eeprom_mac, LOG_LEVEL_INF);

#define MAC_ADDRESS_OFFSET 0xFA
#define MAC_ADDRESS_SIZE 6
#define EEPROM_I2C_ADDR 0x50

static const struct device *eeprom_dev = DEVICE_DT_GET(DT_NODELABEL(eeprom));
static const struct device *i2c_dev = DEVICE_DT_GET(DT_NODELABEL(i2c0));

/**
 * Generate LAA (Locally Administered Address) MAC from board unique ID
 * Based on MicroPython implementation for W5500 driver
 */
static int generate_laa_mac(uint8_t *mac_addr)
{
	uint8_t unique_id[16];  /* RP2040 has 8-byte unique ID, but buffer larger for safety */
	size_t id_len;
	int ret;

	/* Get the unique board ID */
	ret = hwinfo_get_device_id(unique_id, sizeof(unique_id));
	if (ret < 0) {
		LOG_ERR("Failed to get device unique ID: %d", ret);
		return ret;
	}
	
	id_len = ret;
	LOG_INF("Device unique ID: %02x:%02x:%02x:%02x:%02x:%02x:%02x:%02x",
		unique_id[0], unique_id[1], unique_id[2], unique_id[3],
		unique_id[4], unique_id[5], unique_id[6], unique_id[7]);

	/* Ensure we have at least 8 bytes for the algorithm */
	if (id_len < 8) {
		LOG_ERR("Unique ID too short: %zu bytes (need at least 8)", id_len);
		return -EINVAL;
	}

	/* Generate LAA MAC using the algorithm from MicroPython */
	mac_addr[0] = 0x02;  /* LAA range (bit 1 set = locally administered) */
	mac_addr[1] = (unique_id[7] << 4) | (unique_id[6] & 0x0f);
	mac_addr[2] = (unique_id[5] << 4) | (unique_id[4] & 0x0f);
	mac_addr[3] = (unique_id[3] << 4) | (unique_id[2] & 0x0f);
	mac_addr[4] = unique_id[1];
	mac_addr[5] = (unique_id[0] << 2) | 0x02; 
	/* hack: 0x02 in mac_addr[5] replaces an idx in the MicroPython W5500 driver. */
	/* This ensures the MAC remains identical to the Python software. */

	LOG_INF("Generated LAA MAC address: %02x:%02x:%02x:%02x:%02x:%02x",
		mac_addr[0], mac_addr[1], mac_addr[2],
		mac_addr[3], mac_addr[4], mac_addr[5]);

	return 0;
}

int read_mac_address(uint8_t *mac_addr)
{
	int ret;

	/* Check for MACROM on I2C bus (any I2C errors during this check are expected on boards without MACROM) */
	LOG_INF("Checking for MACROM on I2C bus...");
	if (!eeprom_24aa025e_present(i2c_dev)) {
		LOG_INF("No MACROM detected on I2C bus - board revision likely lacks onboard EEPROM");
		goto fallback_laa;
	}

	/* EEPROM is present, try to read from it */
	if (device_is_ready(eeprom_dev)) {
		ret = eeprom_read(eeprom_dev, MAC_ADDRESS_OFFSET, mac_addr, MAC_ADDRESS_SIZE);
		if (ret >= 0) {
			/* Validate MAC address - check if it's not all zeros or all 0xFF */
			bool valid_mac = false;
			for (int i = 0; i < MAC_ADDRESS_SIZE; i++) {
				if (mac_addr[i] != 0x00 && mac_addr[i] != 0xFF) {
					valid_mac = true;
					break;
				}
			}
			
			if (valid_mac) {
				LOG_INF("MAC address read from EEPROM: %02x:%02x:%02x:%02x:%02x:%02x",
					mac_addr[0], mac_addr[1], mac_addr[2],
					mac_addr[3], mac_addr[4], mac_addr[5]);
				return 0;
			} else {
				LOG_INF("EEPROM contains invalid MAC address (all zeros or all 0xFF) - board likely unprogrammed");
			}
		} else {
			LOG_WRN("Failed to read MAC address from EEPROM: %d", ret);
		}
	} else {
		LOG_WRN("EEPROM device not ready despite I2C presence check");
	}

fallback_laa:

	/* EEPROM failed or not available, fallback to LAA generation */
	LOG_INF("Using LAA (Locally Administered Address) MAC generation from board unique ID");
	ret = generate_laa_mac(mac_addr);
	if (ret < 0) {
		LOG_ERR("Failed to generate LAA MAC address: %d", ret);
		return ret;
	}

	return 0;
}
```

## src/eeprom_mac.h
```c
/*
 * EEPROM MAC Address Driver for OpenJBOD
 */

#ifndef EEPROM_MAC_H
#define EEPROM_MAC_H

#include <stdbool.h>
#include <stdint.h>
#include <zephyr/device.h>
#include <zephyr/drivers/i2c.h>

/* I2C address of the onboard Microchip 24AA025E (MAC + board-revision EEPROM). */
#define OPENJBOD_EEPROM_I2C_ADDR 0x50

/**
 * @brief Probe whether the 24AA025E EEPROM responds on the I2C bus.
 *
 * @param i2c_dev I2C controller the EEPROM is attached to
 * @return true if the device ACKs a 1-byte read, false otherwise
 */
static inline bool eeprom_24aa025e_present(const struct device *i2c_dev)
{
	uint8_t dummy;

	if (!device_is_ready(i2c_dev)) {
		return false;
	}
	return i2c_read(i2c_dev, &dummy, 1, OPENJBOD_EEPROM_I2C_ADDR) == 0;
}

/**
 * @brief Read MAC address from EEPROM
 *
 * @param mac_addr Buffer to store the 6-byte MAC address
 * @return 0 on success, negative error code on failure
 */
int read_mac_address(uint8_t *mac_addr);

#endif /* EEPROM_MAC_H */
```

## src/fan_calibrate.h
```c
/*
 * Best-effort fan characterization for the EMC2301.
 *
 * Measures what can be measured safely (tach presence, RPM-vs-duty response,
 * lowest duty that starts the fan, RPM at full drive), derives the tach RANGE
 * from the lowest observed speed (AN17.4) and, only when the response at the
 * configured PWM frequency is degenerate, tries the other base frequencies.
 * Pulses per revolution cannot be measured (it only scales RPM), so it is never
 * changed automatically; an implausible result yields a suggestion instead.
 *
 * The run executes inside the fan-control thread (fan_calibrate_run()) so it
 * owns the PWM output; everything else only requests/aborts/observes.
 */

#ifndef FAN_CALIBRATE_H
#define FAN_CALIBRATE_H

#include <stdint.h>
#include <stdbool.h>

enum fan_cal_state {
	FAN_CAL_IDLE = 0,
	FAN_CAL_PENDING,
	FAN_CAL_RUNNING,
	FAN_CAL_DONE,
	FAN_CAL_ABORTED,
	FAN_CAL_ERROR,
};

enum fan_cal_phase {
	FAN_CAL_PH_NONE = 0,
	FAN_CAL_PH_TACH_CHECK,
	FAN_CAL_PH_SWEEP_UP,
	FAN_CAL_PH_START_SCAN,
	FAN_CAL_PH_FREQ_RETRY,
	FAN_CAL_PH_FINALIZE,
};

#define FAN_CAL_SWEEP_POINTS 8   /* 30..100 % in 10 % steps */
#define FAN_CAL_NOTE_LEN     64

struct fan_cal_result {
	bool tach_present;          /* a tach signal was seen at 50 or 100 % */
	bool monotonic;             /* RPM rose with duty at the chosen frequency */
	bool atx_power_on;          /* ATX (fan) power state when the run started */
	bool budget_cutoff;         /* start scan shortened by the thermal budget */
	bool used_retry;            /* other PWM base frequencies were tried */
	uint8_t min_spin_percent;   /* lowest step that produced rotation (10..30) */
	uint16_t max_rpm;           /* RPM at 100 % duty */
	uint8_t sweep_percent[FAN_CAL_SWEEP_POINTS];
	uint16_t sweep_rpm[FAN_CAL_SWEEP_POINTS];
	uint32_t chosen_pwm_base_hz;
	uint8_t chosen_edges;       /* tach edges sampled: 3|5|7|9 */
	uint8_t chosen_range;       /* tach range multiplier 1|2|4|8 */
	uint8_t assumed_ppr;        /* pulses/rev the RPM figures assume */
	uint8_t suggested_ppr;      /* == assumed unless max_rpm is implausible */
	uint8_t confidence;         /* 0 low, 1 medium, 2 high */
	char note[FAN_CAL_NOTE_LEN];
};

struct fan_cal_status {
	enum fan_cal_state state;
	enum fan_cal_phase phase;
	uint8_t progress_percent;
	uint32_t elapsed_ms;
	const char *abort_reason;   /* NULL, "user", "temperature", "timeout", "i2c", "no_tach" */
	struct fan_cal_result result;
};

/**
 * Ask the fan-control thread to run a characterization.
 * @return 0, -EBUSY (already pending/running), -ENODEV (controller not
 *         initialised), -EHOSTDOWN (temperature too high to run safely)
 */
int fan_calibrate_request(void);

/** Abort a pending or running characterization. -EINVAL if none. */
int fan_calibrate_abort(void);

/** True when a run has been requested and not yet started. */
bool fan_calibrate_pending(void);

/** True while a run is executing. */
bool fan_calibrate_running(void);

/** Execute a pending run. Fan-control thread only. */
void fan_calibrate_run(void);

/** Snapshot of state, progress and the last result. */
void fan_calibrate_get_status(struct fan_cal_status *out);

const char *fan_cal_state_str(enum fan_cal_state s);
const char *fan_cal_phase_str(enum fan_cal_phase p);

#endif /* FAN_CALIBRATE_H */
```

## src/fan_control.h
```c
/*
 * Automatic Fan Control for OpenJBOD
 * Controls EMC2301 fan based on DS18B20 temperature with customizable fan curve
 */

#ifndef FAN_CONTROL_H
#define FAN_CONTROL_H

#include <zephyr/kernel.h>
#include <stdint.h>
#include <stdbool.h>
#include "settings.h"  /* For fan_curve_point definition */
#include "emc2301.h"

/* Fan control configuration */
struct fan_control_config {
	bool enabled;                    /* Enable/disable automatic fan control */
	uint32_t update_interval_ms;     /* Update interval in milliseconds */
	struct fan_curve_point curve[5]; /* 5-point fan curve */
	uint8_t hysteresis_percent;      /* Hysteresis to prevent oscillation */
};

/**
 * Initialize fan control subsystem
 * @return 0 on success, negative error code otherwise
 */
int fan_control_init(void);

/**
 * Start the fan control background task
 * @return 0 on success, negative error code otherwise
 */
int fan_control_start(void);

/**
 * Stop the fan control background task
 * @return 0 on success, negative error code otherwise
 */
int fan_control_stop(void);

/**
 * Get current fan control configuration
 * @return Pointer to current configuration
 */
const struct fan_control_config* fan_control_get_config(void);

/**
 * Update fan control configuration
 * @param config New configuration to apply
 * @return 0 on success, negative error code otherwise
 */
int fan_control_set_config(const struct fan_control_config *config);

/**
 * Get current fan control status
 * @param current_temp Pointer to store current temperature
 * @param current_fan_percent Pointer to store current fan percentage
 * @param is_running Pointer to store running status
 * @return 0 on success, negative error code otherwise
 */
int fan_control_get_status(float *current_temp, uint8_t *current_fan_percent, bool *is_running);

/**
 * Build the EMC2301 hardware configuration from persisted environment settings.
 */
void fan_control_hw_config_from_settings(const struct environment_settings *env,
					 struct emc2301_config *cfg);

/**
 * Re-apply the persisted fan hardware settings to the EMC2301 and wake the
 * control loop so the change takes effect immediately.
 * @return 0 on success, negative error code otherwise
 */
int fan_control_apply_hw_config(void);

/** Wake the control loop early (e.g. a calibration request was queued). */
void fan_control_kick(void);

/** Last fan percentage the curve asked for (after hysteresis and min-drive clamp). */
uint8_t fan_control_current_target(void);

/** "auto", "external" or "calibrating". */
const char *fan_control_mode(void);

#endif /* FAN_CONTROL_H */
```
